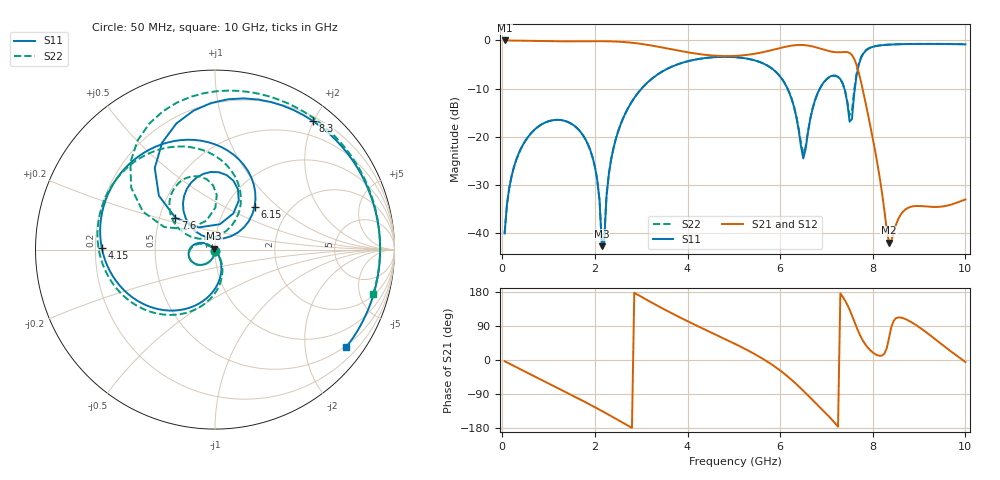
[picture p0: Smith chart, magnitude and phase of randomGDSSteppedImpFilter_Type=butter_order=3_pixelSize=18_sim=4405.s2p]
! freq	dB(S11)	phase(S11)	dB(S12)	phase(S12)
!  dB(S21)	phase(S21)	dB(S22)	phase(S22)
!S-par simulation data
#  GHz  S  DB  R 50
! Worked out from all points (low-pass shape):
!   200 points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, 50 MHz to 10 GHz, reference 50 ohm
!   highest |S21| = -0.01 dB at 50 MHz (marker M1); lowest = -41.9 dB at 8.35 GHz (marker M2)
!   |S21| within 3 dB of the highest: start of sweep to 4.406 GHz; 5.277 GHz to 7.549 GHz (2.271 GHz wide, 35.4 % of centre)
!   lowest |S11| = -42.6 dB at 2.15 GHz (marker M3), VSWR 1.01, Z = 49.4 + j0.483 ohm
!   |S11| at or under -10 dB: start of sweep to 3.007 GHz; 6.159 GHz to 6.855 GHz (696.6 MHz wide, 10.7 % of centre); 7.387 GHz to 7.613 GHz (225.7 MHz wide, 3.01 % of centre)
!   |S22| runs from -42.3 to -0.7 dB; largest |S21 - S12| = 0
!   S11 on the Smith chart (normalised r, x): 50 MHz: 1.00, -0.02; 4.15 GHz: 0.23, +0.01; 6.15 GHz: 1.35, +0.71; 7.6 GHz: 0.60, +0.23; 8.3 GHz: 0.26, +1.99; 10 GHz: 0.47, -2.96
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0.05  -40.00 -92.4  -0.01 -3.2  -0.01 -3.2  -40.00 -92.4
0.25  -26.29 -105.8  -0.03 -15.7  -0.03 -15.7  -26.29 -105.4
0.6  -19.47 -128.3  -0.10 -37.3  -0.10 -37.3  -19.47 -127.3
1.75  -19.76 159.6  -0.17 -108.4  -0.17 -108.4  -19.77 163.2
2.05  -28.89 140.6  -0.16 -127.9  -0.16 -127.9  -28.92 147.2
2.15  -42.64 138.5  -0.16 -134.5  -0.16 -134.5  -42.27 159.4
2.3  -27.77 -58.4  -0.18 -144.6  -0.18 -144.6  -27.69 -58.1
2.5  -18.90 -71.7  -0.25 -158.3  -0.25 -158.3  -18.87 -68.9
3.4  -6.76 -133.7  -1.37 140.0  -1.37 140.0  -6.75 -128.0
4.15  -4.00 179.2  -2.69 93.5  -2.69 93.5  -3.99 -172.7
5.05  -3.49 126.1  -3.19 41.1  -3.19 41.1  -3.48 137.3
6.15  -9.81 47.1  -1.25 -42.2  -1.25 -42.2  -9.76 63.6
6.5  -24.45 83.9  -0.95 -81.2  -0.95 -81.2  -23.47 99.9
6.7  -14.13 136.0  -1.25 -105.5  -1.25 -105.5  -14.14 151.8
7.3  -8.02 75.0  -2.45 176.0  -2.45 176.0  -8.07 96.7
7.5  -16.85 79.1  -2.59 132.7  -2.59 132.7  -15.51 106.9
7.6  -10.97 141.2  -3.83 102.3  -3.83 102.3  -10.19 156.0
7.9  -1.75 91.5  -15.48 31.7  -15.48 31.7  -1.68 110.6
8.3  -0.91 52.7  -39.03 30.3  -39.03 30.3  -0.89 73.4
8.35  -0.88 49.1  -41.90 57.4  -41.90 57.4  -0.86 69.9
9.1  -0.72 5.2  -34.37 78.1  -34.37 78.1  -0.71 26.7
10  -0.81 -36.6  -32.96 -5.3  -32.96 -5.3  -0.77 -15.8
